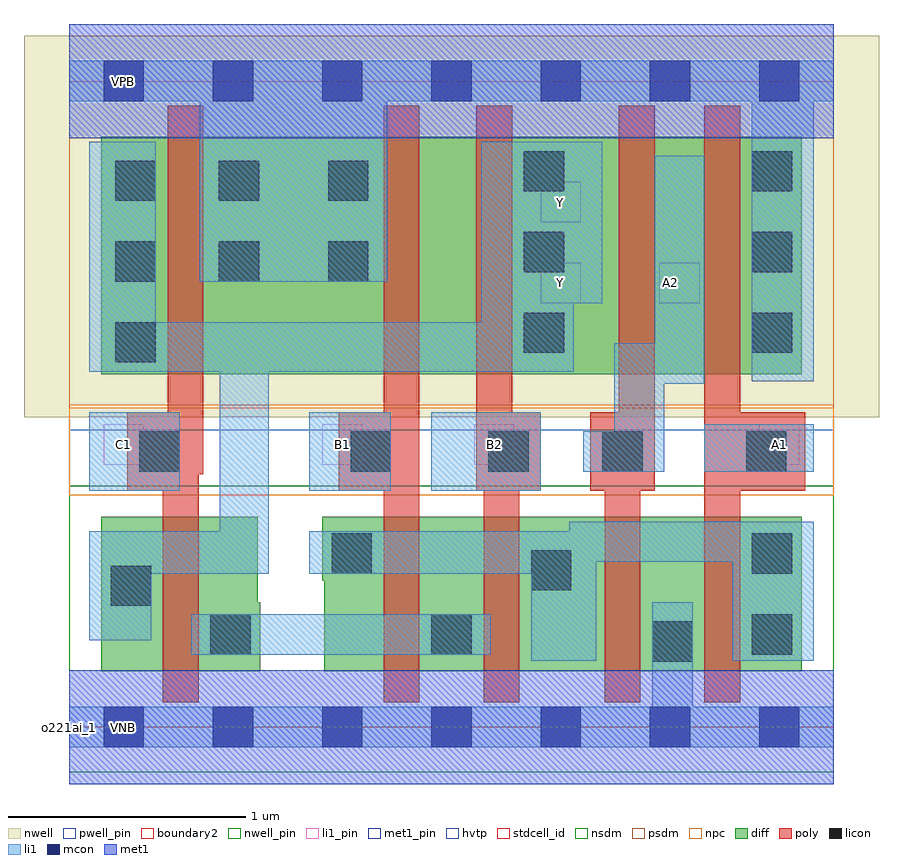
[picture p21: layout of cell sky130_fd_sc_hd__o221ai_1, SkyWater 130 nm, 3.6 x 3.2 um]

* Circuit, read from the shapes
.subckt sky130_fd_sc_hd__o221ai_1 A1 A2 B1 B2 C1 VGND VNB VPB VPWR Y
XM1 n1 C1 Y VNB sky130_fd_pr__nfet_01v8 w=0.65 l=0.15
XM2 n1 B1 n2 VNB sky130_fd_pr__nfet_01v8 w=0.65 l=0.15
XM3 n2 B2 n1 VNB sky130_fd_pr__nfet_01v8 w=0.65 l=0.15
XM4 VGND A2 n2 VNB sky130_fd_pr__nfet_01v8 w=0.65 l=0.15
XM5 n2 A1 VGND VNB sky130_fd_pr__nfet_01v8 w=0.65 l=0.15
XM6 VPWR C1 Y VPB sky130_fd_pr__pfet_01v8_hvt w=1 l=0.15
XM7 n3 B1 VPWR VPB sky130_fd_pr__pfet_01v8_hvt w=1 l=0.15
XM8 Y B2 n3 VPB sky130_fd_pr__pfet_01v8_hvt w=1 l=0.15
XM9 n4 A2 Y VPB sky130_fd_pr__pfet_01v8_hvt w=1 l=0.15
XM10 VPWR A1 n4 VPB sky130_fd_pr__pfet_01v8_hvt w=1 l=0.15
.ends

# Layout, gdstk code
import gdstk
lib = gdstk.Library(unit=1e-6, precision=1e-09)
def R(c, l, rs):  # rectangles x0, y0, x1, y1
    for r in rs: c.add(gdstk.rectangle(r[:2], r[2:], *l))
def A(c, l, x, y, w, h, nx, ny, dx, dy):  # array of equal rectangles
    R(c, l, [(x+i*dx, y+j*dy, x+i*dx+w, y+j*dy+h) for i in range(nx) for j in range(ny)])
def P(c, l, *ps):  # polygons
    for p in ps: c.add(gdstk.Polygon(p, *l))
nwell_pin = (64, 16)
nwell = (64, 20)
diff = (65, 20)
poly = (66, 20)
licon = (66, 44)
li1_pin = (67, 16)
li1 = (67, 20)
mcon = (67, 44)
met1_pin = (68, 16)
met1 = (68, 20)
hvtp = (78, 44)
stdcell_id = (81, 4)
nsdm = (93, 44)
psdm = (94, 20)
npc = (95, 20)
pwell_pin = (122, 16)
boundary2 = (236, 0)

sky130_fd_sc_hd__o221ai_ = lib.new_cell('sky130_fd_sc_hd__o221ai_1')
R(sky130_fd_sc_hd__o221ai_, nwell_pin, [(0.145,2.635,0.315,2.805)])
R(sky130_fd_sc_hd__o221ai_, nwell, [(-0.19,1.305,3.41,2.91)])
R(sky130_fd_sc_hd__o221ai_, diff, [(0.135,1.485,3.085,2.485)])
P(sky130_fd_sc_hd__o221ai_, diff, [(0.805,0.525),(0.795,0.525),(0.795,0.885),(0.135,0.885),(0.135,0.235),(0.805,0.235)],
  [(3.085,0.885),(1.065,0.885),(1.065,0.615),(1.075,0.615),(1.075,0.235),(3.085,0.235)])
R(sky130_fd_sc_hd__o221ai_, poly, [(1.745,0.105,1.895,0.995), (1.715,0.995,1.985,1.325), (1.715,1.325,1.865,2.615), (2.675,1.325,2.825,2.615)])
P(sky130_fd_sc_hd__o221ai_, poly, [(0.565,2.615),(0.415,2.615),(0.415,1.325),(0.245,1.325),(0.245,0.995),(0.395,0.995),(0.395,0.105),(0.545,0.105),(0.545,1.065),(0.565,1.065)],
  [(1.475,2.615),(1.325,2.615),(1.325,1.325),(1.135,1.325),(1.135,0.995),(1.325,0.995),(1.325,0.105),(1.475,0.105)],
  [(2.465,2.615),(2.315,2.615),(2.315,1.325),(2.195,1.325),(2.195,0.995),(2.255,0.995),(2.255,0.105),(2.405,0.105),(2.405,0.995),(2.465,0.995)],
  [(3.1,1.325),(2.675,1.325),(2.675,0.105),(2.825,0.105),(2.825,0.995),(3.1,0.995)])
A(sky130_fd_sc_hd__o221ai_, licon, 0.195, 1.535, 0.17, 0.17, 1, 3, 0, 0.34)
A(sky130_fd_sc_hd__o221ai_, licon, 1.915, 1.575, 0.17, 0.17, 1, 3, 0, 0.34)
A(sky130_fd_sc_hd__o221ai_, licon, 2.875, 1.575, 0.17, 0.17, 1, 3, 0, 0.34)
R(sky130_fd_sc_hd__o221ai_, licon, [(2.455,0.275,2.625,0.445), (0.595,0.305,0.765,0.475), (1.525,0.305,1.695,0.475), (2.875,0.305,3.045,0.475), (0.175,0.51,0.345,0.68), (1.945,0.575,2.115,0.745), (1.105,0.645,1.275,0.815), (2.875,0.645,3.045,0.815), (0.295,1.075,0.465,1.245), (1.185,1.075,1.355,1.245), (1.765,1.075,1.935,1.245), (2.245,1.075,2.415,1.245), (2.85,1.075,3.02,1.245), (0.63,1.875,0.8,2.045), (1.09,1.875,1.26,2.045), (0.63,2.215,0.8,2.385), (1.09,2.215,1.26,2.385)])
R(sky130_fd_sc_hd__o221ai_, li1_pin, [(0.145,1.105,0.315,1.275), (1.065,1.105,1.235,1.275), (1.705,1.105,1.875,1.275), (2.905,1.105,3.075,1.275), (1.985,1.785,2.155,1.955), (2.485,1.785,2.655,1.955), (1.985,2.125,2.155,2.295)])
R(sky130_fd_sc_hd__o221ai_, li1, [(0.085,0.995,0.465,1.325), (1.01,0.995,1.355,1.325), (1.525,0.995,1.985,1.325), (2.675,1.075,3.135,1.275)])
P(sky130_fd_sc_hd__o221ai_, li1, [(3.135,0.865),(2.105,0.865),(2.105,0.825),(1.01,0.825),(1.01,0.645),(1.945,0.645),(1.945,0.28),(2.22,0.28),(2.22,0.695),(2.795,0.695),(2.795,0.28),(3.135,0.28)],
  [(3.22,2.805),(0,2.805),(0,2.635),(0.55,2.635),(0.55,1.875),(1.34,1.875),(1.34,2.635),(2.875,2.635),(2.875,1.455),(3.135,1.455),(3.135,2.635),(3.22,2.635)],
  [(3.22,0.085),(2.625,0.085),(2.625,0.525),(2.455,0.525),(2.455,0.085),(0,0.085),(0,-0.085),(3.22,-0.085)],
  [(2.245,2.465),(1.735,2.465),(1.735,1.705),(0.365,1.705),(0.365,2.465),(0.085,2.465),(0.085,1.495),(0.635,1.495),(0.635,0.825),(0.085,0.825),(0.085,0.365),(0.345,0.365),(0.345,0.645),(0.84,0.645),(0.84,1.495),(2.125,1.495),(2.125,1.785),(2.245,1.785)],
  [(2.675,2.405),(2.465,2.405),(2.465,1.615),(2.295,1.615),(2.295,1.245),(2.165,1.245),(2.165,1.075),(2.505,1.075),(2.505,1.445),(2.675,1.445)])
A(sky130_fd_sc_hd__o221ai_, mcon, 0.145, -0.085, 0.17, 0.17, 7, 2, 0.46, 2.72)
R(sky130_fd_sc_hd__o221ai_, met1_pin, [(0.145,-0.085,0.315,0.085), (0.145,2.635,0.315,2.805)])
R(sky130_fd_sc_hd__o221ai_, hvtp, [(0,1.25,3.22,2.72)])
R(sky130_fd_sc_hd__o221ai_, stdcell_id, [(0,0,3.22,2.72)])
R(sky130_fd_sc_hd__o221ai_, nsdm, [(0,-0.19,3.22,1.015)])
R(sky130_fd_sc_hd__o221ai_, psdm, [(0,1.355,3.22,2.91)])
R(sky130_fd_sc_hd__o221ai_, npc, [(0,0.975,3.22,1.345)])
R(sky130_fd_sc_hd__o221ai_, pwell_pin, [(0.145,-0.085,0.315,0.085)])
R(sky130_fd_sc_hd__o221ai_, boundary2, [(0,0,3.22,2.72)])
sky130_fd_sc_hd__o221ai_.add(gdstk.FlexPath([(0.515,0.39),(1.775,0.39)], 0.17, ends="flush", simple_path=True, layer=67, datatype=20))  # li1
sky130_fd_sc_hd__o221ai_.add(gdstk.FlexPath([(0,2.72),(3.22,2.72)], 0.48, ends="flush", simple_path=True, layer=68, datatype=20))  # met1
sky130_fd_sc_hd__o221ai_.add(gdstk.FlexPath([(0,0),(3.22,0)], 0.48, ends="flush", simple_path=True, layer=68, datatype=20))  # met1
sky130_fd_sc_hd__o221ai_.add(gdstk.Label('A2', (2.53,1.87), layer=67, texttype=5))
sky130_fd_sc_hd__o221ai_.add(gdstk.Label('Y', (2.07,2.21), layer=67, texttype=5))
sky130_fd_sc_hd__o221ai_.add(gdstk.Label('B1', (1.15,1.19), layer=67, texttype=5))
sky130_fd_sc_hd__o221ai_.add(gdstk.Label('C1', (0.23,1.19), layer=67, texttype=5))
sky130_fd_sc_hd__o221ai_.add(gdstk.Label('A1', (2.99,1.19), layer=67, texttype=5))
sky130_fd_sc_hd__o221ai_.add(gdstk.Label('Y', (2.07,1.87), layer=67, texttype=5))
sky130_fd_sc_hd__o221ai_.add(gdstk.Label('B2', (1.79,1.19), layer=67, texttype=5))
sky130_fd_sc_hd__o221ai_.add(gdstk.Label('VPB', (0.23,2.72), layer=64, texttype=5))
sky130_fd_sc_hd__o221ai_.add(gdstk.Label('VNB', (0.23,0), layer=64, texttype=59))
sky130_fd_sc_hd__o221ai_.add(gdstk.Label('VGND', (0.23,0), layer=68, texttype=5))
sky130_fd_sc_hd__o221ai_.add(gdstk.Label('VPWR', (0.23,2.72), layer=68, texttype=5))
sky130_fd_sc_hd__o221ai_.add(gdstk.Label('o221ai_1', (0,0), layer=83, texttype=44))

lib.write_gds('sky130_fd_sc_hd__o221ai_1.gds')
